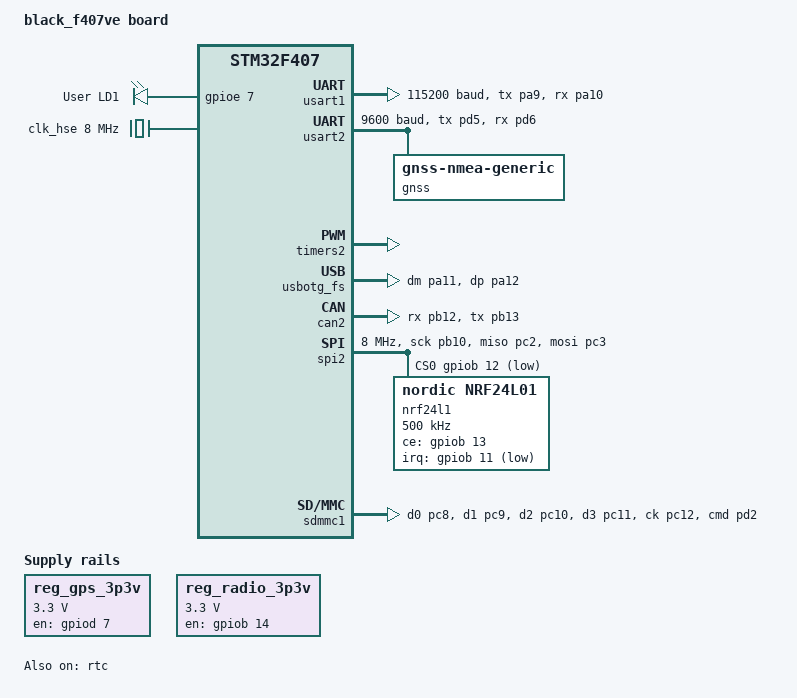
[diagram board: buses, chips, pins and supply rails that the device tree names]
/*
 * Copyright (c) 2020 Intel Corporation
 *
 * SPDX-License-Identifier: Apache-2.0
 */

/dts-v1/;
#include <st/f4/stm32f407Xe.dtsi>
#include <st/f4/stm32f407v(e-g)tx-pinctrl.dtsi>
#include <zephyr/dt-bindings/input/input-event-codes.h>

/ {
	model = "black_f407ve board";
	compatible = "black-stm32f407";

	chosen {
		zephyr,console = &usart1;
		zephyr,shell-uart = &usart1;
                zephyr,modem-uart = &usart2;
		zephyr,sram = &sram0;
		zephyr,flash = &flash0;
		zephyr,dtcm = &ccm0;
//		zephyr,canbus = &can2;
	};

	leds {
		compatible = "gpio-leds";

		green_led_1: led_1 {
			gpios = <&gpioe 7 GPIO_ACTIVE_HIGH>;
			label = "User LD1";
		};

	};

	reg_gps_3p3v: regulator_gps_3p3v {
                compatible = "regulator-fixed";
                regulator-name = "gps_regulator";
		enable-gpios = <&gpiod 7 GPIO_ACTIVE_HIGH>;
                regulator-min-microvolt = <3300000>;
                regulator-max-microvolt = <3300000>;
                regulator-always-on;
                regulator-boot-on;

                status = "okay";
        };
	reg_radio_3p3v: regulator_radio_3p3v {
                compatible = "regulator-fixed";
                regulator-name = "radio_regulator";
		enable-gpios = <&gpiob 14 GPIO_ACTIVE_HIGH>;
                regulator-min-microvolt = <3300000>;
                regulator-max-microvolt = <3300000>;
                regulator-always-on;
                regulator-boot-on;

                status = "okay";
        };


	aliases {
		led0 = &green_led_1;
		gnss = &gnss;
                sdhc0 = &sdmmc1;
	};
};

&clk_lsi {
	status = "okay";
};

&clk_hse {
	clock-frequency = <DT_FREQ_M(8)>;
	status = "okay";
};

&pll {
	div-m = <8>;
	mul-n = <336>;
	div-p = <2>;
	div-q = <7>;
	clocks = <&clk_hse>;
	status = "okay";
};

&rcc {
	clocks = <&pll>;
	clock-frequency = <DT_FREQ_M(168)>;
	ahb-prescaler = <1>;
	apb1-prescaler = <4>;
	apb2-prescaler = <2>;
};

&usart1 {
	pinctrl-0 = <&usart1_tx_pa9 &usart1_rx_pa10>;
	pinctrl-names = "default";
	current-speed = <115200>;
	status = "okay";
};

gps_usart:&usart2 {
	pinctrl-0 = <&usart2_tx_pd5 &usart2_rx_pd6>;
	pinctrl-names = "default";
	status = "okay";
	current-speed = <9600>;
	gnss:  atgm336h{
		status = "okay";
		compatible = "gnss-nmea-generic";
		//initial-baudrate = <9600>;
	};
};

&timers2 {
	status = "okay";

	pwm2: pwm {
		status = "okay";
		pinctrl-0 = <&tim2_ch1_pa0>;
		pinctrl-names = "default";
	};
};

&rtc {
	clocks = <&rcc STM32_CLOCK(APB1, 28)>,
		 <&rcc STM32_SRC_LSI RTC_SEL(2)>;
	status = "okay";
};

zephyr_udc0: &usbotg_fs {
	pinctrl-0 = <&usb_otg_fs_dm_pa11 &usb_otg_fs_dp_pa12>;
	pinctrl-names = "default";
	status = "okay";
};

&can1 {
	pinctrl-0 = <&can1_rx_pd0 &can1_tx_pd1>;
	pinctrl-names = "default";
	status = "disabled";
};

&can2 {
	pinctrl-0 = <&can2_rx_pb12 &can2_tx_pb13>;
	pinctrl-names = "default";
	status = "okay";
};

&spi2 {
	pinctrl-0 = <&spi2_sck_pb10 &spi2_miso_pc2 &spi2_mosi_pc3>;
	pinctrl-names = "default";
	status = "okay";
	cs-gpios = <&gpiob 12 GPIO_ACTIVE_LOW>;
	clock-frequency = <8000000>;// Max 8 Mbps for SPI
	status = "okay";

	nrf24l1: nrf24@0 {
		reg = <0>;
		addr-width = <4>;
		compatible = "nordic,nrf24l01";
		status = "okay";
		spi-max-frequency = <500000>;// This really sets frequency
		ce-gpios = <&gpiob 13 GPIO_ACTIVE_HIGH>;
		irq-gpios = <&gpiob 11 GPIO_ACTIVE_LOW>;
		channel-frequency = <90>;
		rf-power-attenuation = <0>;
		lna-gain;
		tx-address = [e7 e7 e7 e7];
		payload-fixed-size = <32>;
		rx-datapipes-number = <2>;
		rx-datapipe0-address = [e7 e7 e7 e7];
		rx-datapipe1-address = [de ad de ad];
		payload-ack;
		payload-crc;
	};
};

&sdmmc1 {
        status = "okay";
        pinctrl-0 = <&sdio_d0_pc8 &sdio_d1_pc9
                     &sdio_d2_pc10 &sdio_d3_pc11
                     &sdio_ck_pc12 &sdio_cmd_pd2>;
        pinctrl-names = "default";
        //cd-gpios = <&gpioa 8 (GPIO_ACTIVE_HIGH | GPIO_PULL_UP)>;
        disk-name = "SD";
};

&zephyr_udc0 {
	cdc_acm_uart0 {
		compatible = "zephyr,cdc-acm-uart";
	};
};
